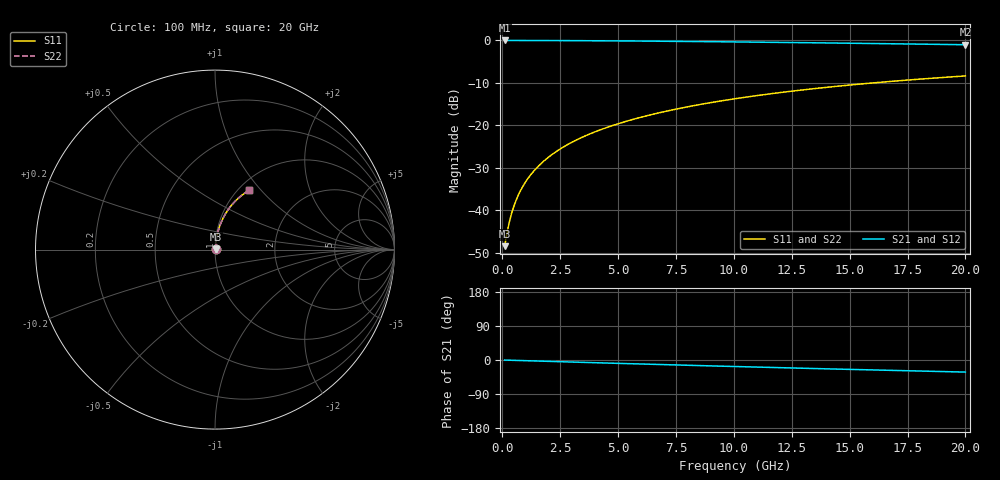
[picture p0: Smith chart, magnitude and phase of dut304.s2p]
! Touchstone file exported from HFSS 2024.1.0
!  File:  C:/UserFiles/LocalFiles/RDL_TSV_Batchsim/temp_RDL_top_304_1779606367.aedt
!  Generated:  03:08:17 PM May 24, 2026
!  Design:  RDL_top
!  Project:  temp_RDL_top_304_1779606367
!  Setup:  Setup1
!  Solution:  Sweep
! Variables:
!  dtsv = 10.80580581um
!  hbump = 3um
!  htsv = 80.86um
!  ldown = 100um
!  lrdl = 400.36um
!  p = 40
!  p1 = 44.53um
!  rhole = 1um
!  t = 450um
!  tdown = 3.915915916um
!  trdl = 4.33um
!  wdown = 15.38538539um
!  wrdl = 10.88um
# GHz S MA R 50.000000
! Terminal data exported
! Port[1] = Box2_T1
! Port[2] = Box2_T2
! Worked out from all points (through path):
!   200 points, 100 MHz to 20 GHz, reference 50 ohm
!   highest |S21| = -0.03 dB at 100 MHz (marker M1); lowest = -1.0 dB at 20 GHz (marker M2)
!   group delay of S21, straight-line fit = 4.42 ps
!   lowest |S11| = -48.5 dB at 100 MHz (marker M3), VSWR 1.01, Z = 50.3 + j0.218 ohm
!   |S11| at or under -10 dB: start of sweep to 16.07 GHz
!   |S22| runs from -48.5 to -8.4 dB; largest |S21 - S12| = 2.7e-15
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0.1  0.003762 35.1  0.9969 -0.2  0.9969 -0.2  0.003762 35.1
! Gamma 0 0 0 0
! Port Impedance 50 0 50 0
0.2  0.005323 53.8  0.9969 -0.4  0.9969 -0.4  0.005323 53.8
0.3  0.00717 63.4  0.9968 -0.6  0.9968 -0.6  0.007169 63.4
0.4  0.009118 68.8  0.9967 -0.7  0.9967 -0.7  0.009117 68.8
0.5  0.01111 72.3  0.9966 -0.9  0.9966 -0.9  0.01111 72.3
0.6  0.01314 74.7  0.9965 -1.1  0.9965 -1.1  0.01314 74.7
0.8  0.01723 77.8  0.9963 -1.5  0.9963 -1.5  0.01723 77.8
1.1  0.02343 80.2  0.996 -2.0  0.996 -2.0  0.02343 80.2
1.5  0.03173 81.6  0.9954 -2.7  0.9954 -2.7  0.03173 81.6
1.8  0.03797 82.1  0.995 -3.3  0.995 -3.3  0.03797 82.1
2.1  0.04421 82.3  0.9944 -3.8  0.9944 -3.8  0.04421 82.3
2.7  0.05667 82.4  0.993 -4.9  0.993 -4.9  0.05667 82.4
3.5  0.07322 81.9  0.9907 -6.3  0.9907 -6.3  0.07322 81.9
4.2  0.08765 81.3  0.9884 -7.5  0.9884 -7.5  0.08765 81.3
5  0.1041 80.4  0.9852 -8.9  0.9852 -8.9  0.1041 80.4
5.9  0.1224 79.4  0.9813 -10.4  0.9813 -10.4  0.1224 79.4
6.8  0.1407 78.2  0.9769 -11.9  0.9769 -11.9  0.1407 78.2
8.3  0.1708 76.3  0.9689 -14.4  0.9689 -14.4  0.1708 76.3
10.1  0.2062 73.8  0.9582 -17.3  0.9582 -17.3  0.2062 73.8
13.4  0.2687 69.2  0.9365 -22.4  0.9365 -22.4  0.2687 69.2
16.7  0.3271 64.6  0.9127 -27.3  0.9127 -27.3  0.3271 64.6
20  0.3807 60.1  0.8877 -31.9  0.8877 -31.9  0.3808 60.1
